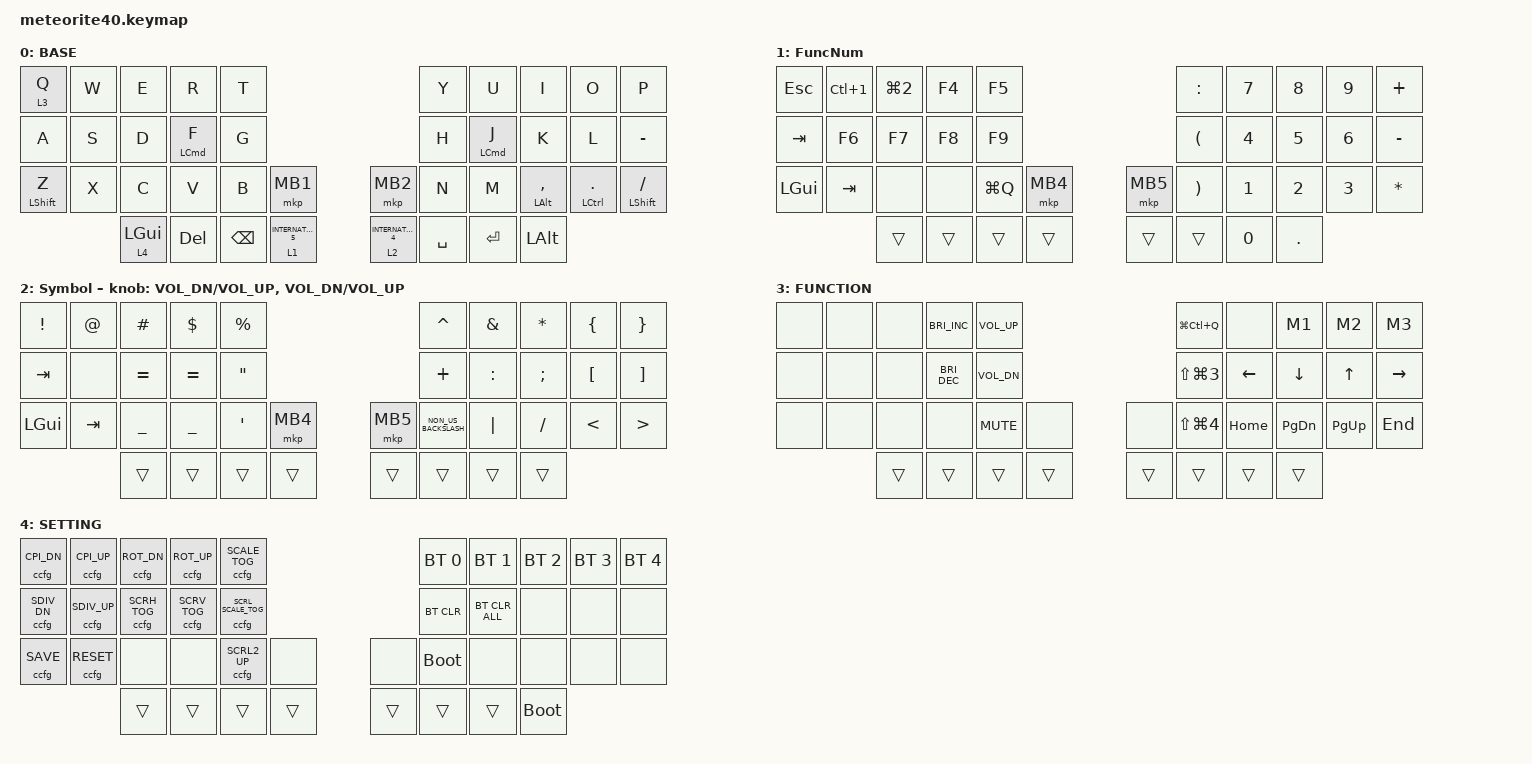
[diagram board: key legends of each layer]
#include <behaviors/meteorite_custom_key.dtsi>
#include <behaviors/custom_config.dtsi>
#include <behaviors/meteorite_bt_os.dtsi>
#include <behaviors/meteorite_mod_key.dtsi>
#include <behaviors/meteorite_os_key.dtsi>
#include <dt-bindings/zmk/custom_config.h>
#include <dt-bindings/zmk/meteorite_custom_keys.h>
#include <dt-bindings/zmk/meteorite_bt_os.h>

#define ZMK_POINTING_DEFAULT_SCRL_VAL 200

#include <behaviors.dtsi>
#include <dt-bindings/zmk/bt.h>
#include <dt-bindings/zmk/keys.h>
#include <dt-bindings/zmk/pointing.h>

&mt {
    flavor = "tap-preferred"; // change hold to tap
    tapping-term-ms = <200>;
    quick-tap-ms = <150>; // change 200 to 150
    require-prior-idle-ms = <100>;
};

&lt {
    flavor = "tap-preferred";
    tapping-term-ms = <150>; // change 200 to 150
    quick-tap-ms = <150>; // change 200 to 150
    require-prior-idle-ms = <100>;
};

/ {
    behaviors {
        mck_mt: mck_mt {
            compatible = "zmk,behavior-hold-tap";
            #binding-cells = <2>;
            flavor = "tap-preferred";
            tapping-term-ms = <150>;
            bindings = <&mck>, <&kp>;

            display-name = "meteorite OS-Switch-mod-tap";
        };

        mck_mt_st: mck_mt_st {
            compatible = "zmk,behavior-hold-tap";
            #binding-cells = <2>;
            flavor = "tap-preferred";
            tapping-term-ms = <150>;
            bindings = <&mck>, <&alt_cmd_tab>;

            display-name = "meteorite OS-Switch-mod-tap (smart toggle)";
        };

        alt_cmd_tab: alt_cmd_tab {
            compatible = "zmk,behavior-smart-toggle";
            #binding-cells = <0>;
            display-name = "meteorite Smart toggle (Alt/Cmd+Tab)";
            bindings = <&mck M_OS_ALT_CMD>, <&kp TAB>;

            position-bindings = <12 13>; /* D, F */
            position-binding-behaviors = <&kp LS(TAB)>, <&kp TAB>;
        };

        enc_msc: encoder_mouse_scroll {
            compatible = "zmk,behavior-sensor-rotate-var";
            #sensor-binding-cells = <2>;
            bindings = <&msc>, <&msc>;

            tap-ms = <25>;
            display-name = "Encoder Mouse Scroll";
        };

        enc_kp: encoder_key_press {
            compatible = "zmk,behavior-sensor-rotate-var";
            #sensor-binding-cells = <2>;
            bindings = <&kp>, <&kp>;

            tap-ms = <25>;
            display-name = "Encoder Key Press";
        };
    };

    combos {
        compatible = "zmk,combos";

        esc {
            bindings = <&kp ESCAPE>;
            key-positions = <1 2>; /* Z + X */
            layers = <0>;
            timeout-ms = <60>;
        };

        tab {
            bindings = <&kp TAB>;
            key-positions = <11 12>; /* Q + W */
            layers = <0>;
            timeout-ms = <60>;
        };

        Up {
            bindings = <&kp UP>;
            key-positions = <7 6>;
            timeout-ms = <60>;
            layers = <0>;
        };

        Down {
            bindings = <&kp DOWN>;
            key-positions = <16 17>;
            timeout-ms = <60>;
            layers = <0>;
        };

        Left {
            bindings = <&kp LEFT>;
            key-positions = <16 15>;
            timeout-ms = <60>;
            layers = <0>;
        };

        Right {
            bindings = <&kp RIGHT>;
            key-positions = <18 17>;
            timeout-ms = <60>;
            layers = <0>;
        };
    };

    macros {
        M1: new_macro {
            compatible = "zmk,behavior-macro";
            #binding-cells = <0>;
            bindings = <&kp H &kp O &kp S &kp H &kp I>;
            label = "NEW_MACRO";
        };

        M2: M2 {
            compatible = "zmk,behavior-macro";
            #binding-cells = <0>;
            bindings = <&kp N2 &kp N5 &kp M &kp B &kp A>;
            label = "M2";
        };

        M3: M3 {
            compatible = "zmk,behavior-macro";
            #binding-cells = <0>;
            bindings = <&kp LS(M) &kp N3>;
            label = "M3";
        };
    };

    keymap {
        compatible = "zmk,keymap";
        layout = &LAYOUT_2U_SPACE;

        default_layer {
            display-name = "BASE";
            bindings = <
&lt 3 Q           &kp W    &kp E          &kp R                  &kp T                  &kp Y      &kp U               &kp I         &kp O  &kp P
&kp A             &kp S    &kp D          &mt LEFT_COMMAND F     &kp G                  &kp H      &mt LEFT_COMMAND J  &kp K         &kp L  &kp MINUS
&mt LEFT_SHIFT Z  &kp X    &kp C          &kp V                  &kp B                  &mkp MB1   &mkp MB2            &kp N         &kp M  &mt LEFT_ALT COMMA  &mt LCTRL DOT  &mt LEFT_SHIFT SLASH
&lt 4 LEFT_GUI    &kp DEL  &kp BACKSPACE  &lt 1 INTERNATIONAL_5  &lt 2 INTERNATIONAL_4  &kp SPACE  &kp ENTER           &kp LEFT_ALT
            >;
        };

        layer_1 {
            display-name = "FuncNum";
            bindings = <
&kp ESC       &kp LC(NUMBER_1)  &kp LG(NUMBER_2)  &kp F4  &kp F5     &kp COLON             &kp N7    &kp N8                 &kp N9  &kp PLUS
&kp TAB       &kp F6            &kp F7            &kp F8  &kp F9     &kp LEFT_PARENTHESIS  &kp N4    &kp N5                 &kp N6  &kp MINUS
&kp LEFT_GUI  &kp TAB           &none             &none   &kp LG(Q)  &mkp MB4              &mkp MB5  &kp RIGHT_PARENTHESIS  &kp N1  &kp N2     &kp N3  &kp ASTERISK
&trans        &trans            &trans            &trans  &trans     &trans                &kp N0    &kp DOT
            >;
        };

        layer_2 {
            display-name = "Symbol";
            bindings = <
&kp EXCLAMATION  &kp AT   &kp HASH        &kp DOLLAR      &kp PERCENT        &kp CARET  &kp AMPERSAND  &kp ASTERISK          &kp LEFT_BRACE    &kp RIGHT_BRACE
&kp TAB          &none    &kp EQUAL       &kp EQUAL       &kp DOUBLE_QUOTES  &kp PLUS   &kp COLON      &kp SEMICOLON         &kp LEFT_BRACKET  &kp RIGHT_BRACKET
&kp LEFT_GUI     &kp TAB  &kp UNDERSCORE  &kp UNDERSCORE  &kp SQT            &mkp MB4   &mkp MB5       &kp NON_US_BACKSLASH  &kp PIPE          &kp SLASH          &kp LESS_THAN  &kp GREATER_THAN
&trans           &trans   &trans          &trans          &trans             &trans     &trans         &trans
            >;

            sensor-bindings =
                <&enc_kp C_VOL_DN C_VOL_UP>,
                <&enc_kp C_VOL_DN C_VOL_UP>;
        };

        layer_3 {
            display-name = "FUNCTION";
            bindings = <
&none   &none   &none   &kp C_BRIGHTNESS_INC  &kp C_VOL_UP  &kp LG(LC(Q))         &none     &M1                   &M2       &M3
&none   &none   &none   &kp C_BRIGHTNESS_DEC  &kp C_VOL_DN  &kp LS(LG(NUMBER_3))  &kp LEFT  &kp DOWN              &kp UP    &kp RIGHT
&none   &none   &none   &none                 &kp K_MUTE    &none                 &none     &kp LS(LG(NUMBER_4))  &kp HOME  &kp PG_DN  &kp PG_UP  &kp END
&trans  &trans  &trans  &trans                &trans        &trans                &trans    &trans
            >;
        };

        layer_4 {
            display-name = "SETTING";
            bindings = <
&ccfg C_CPI_DN   &ccfg C_CPI_UP   &ccfg C_ROT_DN    &ccfg C_ROT_UP    &ccfg C_SCALE_TOG       &bt BT_SEL 0  &bt BT_SEL 1    &bt BT_SEL 2  &bt BT_SEL 3  &bt BT_SEL 4
&ccfg C_SDIV_DN  &ccfg C_SDIV_UP  &ccfg C_SCRH_TOG  &ccfg C_SCRV_TOG  &ccfg C_SCRL_SCALE_TOG  &bt BT_CLR    &bt BT_CLR_ALL  &none         &none         &none
&ccfg C_SAVE     &ccfg C_RESET    &none             &none             &ccfg C_SCRL2_UP        &none         &none           &bootloader   &none         &none         &none  &none
&trans           &trans           &trans            &trans            &trans                  &trans        &trans          &bootloader
            >;
        };
    };
};
